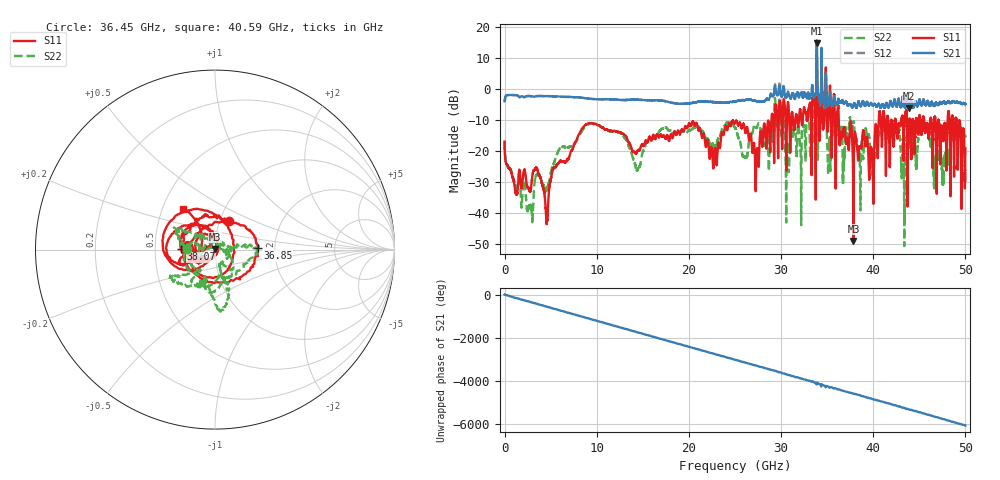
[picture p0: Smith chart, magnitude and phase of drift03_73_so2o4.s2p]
!Created with skrf (http://scikit-rf.org).
# Hz S RI R 50.0
!freq ReS11 ImS11 ReS21 ImS21 ReS12 ImS12 ReS22 ImS22
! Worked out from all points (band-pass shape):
!   10001 points, 300 kHz to 50 GHz, reference 50 ohm
!   highest |S21| = 14.58 dB at 33.88 GHz (marker M1); lowest = -6.3 dB at 43.9 GHz (marker M2)
!   |S21| within 3 dB of the highest: 33.86887 GHz to 33.8879 GHz (19.03 MHz wide, 0.0562 % of centre); 34.37709 GHz to 34.38811 GHz (11.02 MHz wide, 0.032 % of centre)
!   lowest |S11| = -48.9 dB at 37.85 GHz (marker M3), VSWR 1.01, Z = 50.2 + j0.296 ohm
!   |S11| at or under -10 dB: start of sweep to 28.94 GHz; 36.26 GHz to 40.6 GHz (4.336 GHz wide, 11.3 % of centre); 49.01 GHz to end of sweep (the widest 3 of 58)
!   |S22| runs from -50.6 to 11.4 dB; largest |S21 - S12| = 0.81
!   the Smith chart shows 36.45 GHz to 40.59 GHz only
!   S11 on the Smith chart (normalised r, x): 36.45 GHz: 1.10, +0.36; 36.85 GHz: 1.62, +0.03; 38.07 GHz: 0.68, +0.00; 40.59 GHz: 0.63, +0.32
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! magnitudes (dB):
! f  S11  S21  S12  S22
! 300 kHz  -17.0  -4.0  -4.0  -16.8
! 2.82 GHz  -32.7  -2.4  -2.4  -37.7
! 4.555 GHz  -43.3  -2.3  -2.3  -32.5
! 8.335 GHz  -13.1  -2.8  -2.8  -13.9
! 14.45 GHz  -19.9  -3.5  -3.5  -25.8
! 16.67 GHz  -15.4  -3.7  -3.7  -14.3
! 22.82 GHz  -19.3  -4.3  -4.3  -19.0
! 25 GHz  -11.0  -4.0  -4.0  -12.5
! 26.09 GHz  -13.7  -3.6  -3.6  -21.9
! 27.39 GHz  -19.4  -4.1  -4.1  -12.5
! 29.6 GHz  -10.4  -2.0  -2.1  -11.7
! 30.7 GHz  -5.7  -1.4  -1.5  -17.2
! 33.34 GHz  -14.3  -0.4  -0.5  -7.0
! 33.88 GHz  15.5  14.6  14.2  11.1
! 36.45 GHz  -15.2  -4.4  -4.3  -16.1
! 36.85 GHz  -12.5  -4.6  -4.7  -22.8
! 37.85 GHz  -48.9  -5.4  -5.4  -11.0
! 38.07 GHz  -14.4  -5.5  -5.4  -17.1
! 40.59 GHz  -10.7  -4.9  -5.0  -14.0
! 41.67 GHz  -12.1  -5.9  -5.9  -15.0
! 43.9 GHz  -9.8  -6.3  -6.2  -16.9
! 50 GHz  -19.2  -4.9  -5.0  -15.1
